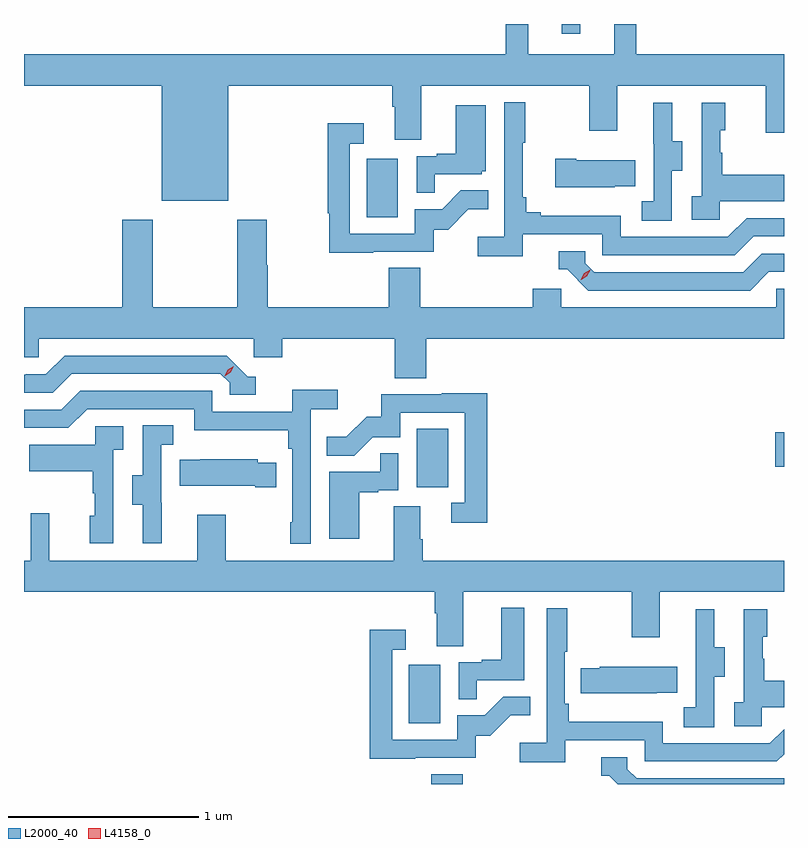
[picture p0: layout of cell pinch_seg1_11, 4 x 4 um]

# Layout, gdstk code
import gdstk
lib = gdstk.Library(unit=1e-6, precision=1e-09)
def R(c, l, rs):  # rectangles x0, y0, x1, y1
    for r in rs: c.add(gdstk.rectangle(r[:2], r[2:], *l))
def P(c, l, *ps):  # polygons
    for p in ps: c.add(gdstk.Polygon(p, *l))
L2000_40 = (2000, 40)
L4158_0 = (4158, 0)

pinch_seg1_11 = lib.new_cell('pinch_seg1_11')
R(pinch_seg1_11, L2000_40, [(1084.961,570.7,1085.126,570.752), (1084.844,571.02,1085.008,571.327), (1084.886,572.262,1085.05,572.569), (1086.773,572.369,1086.818,572.552), (1084.622,573.684,1084.786,573.991), (1085.649,574.65,1085.746,574.7)])
P(pinch_seg1_11, L2000_40, [(1082.818,574.376),(1083.542,574.376),(1083.542,573.77),(1083.892,573.77),(1083.892,574.376),(1084.757,574.376),(1084.757,574.264),(1084.769,574.264),(1084.769,574.09),(1084.909,574.09),(1084.909,574.376),(1085.794,574.376),(1085.794,574.137),(1085.941,574.137),(1085.941,574.376),(1086.722,574.376),(1086.722,574.128),(1086.818,574.128),(1086.818,574.54),(1086.041,574.54),(1086.041,574.7),(1085.924,574.7),(1085.924,574.54),(1085.471,574.54),(1085.471,574.7),(1085.353,574.7),(1085.353,574.54),(1082.818,574.54)],
  [(1085.444,573.594),(1085.862,573.594),(1085.862,573.483),(1086.559,573.483),(1086.658,573.582),(1086.818,573.582),(1086.818,573.678),(1086.621,573.678),(1086.522,573.579),(1085.958,573.579),(1085.958,573.691),(1085.539,573.691),(1085.539,573.71),(1085.462,573.71),(1085.462,573.787),(1085.443,573.787),(1085.443,574.075),(1085.455,574.075),(1085.455,574.288),(1085.346,574.288),(1085.346,573.58),(1085.205,573.58),(1085.205,573.478),(1085.444,573.478)],
  [(1086.48,573.767),(1086.818,573.767),(1086.818,573.907),(1086.493,573.907),(1086.493,574.022),(1086.483,574.022),(1086.483,574.14),(1086.508,574.14),(1086.508,574.285),(1086.384,574.285),(1086.384,573.794),(1086.333,573.794),(1086.333,573.669),(1086.48,573.669)],
  [(1086.228,573.928),(1086.283,573.928),(1086.283,574.083),(1086.229,574.083),(1086.229,574.285),(1086.131,574.285),(1086.131,574.071),(1086.132,574.071),(1086.132,573.767),(1086.069,573.767),(1086.069,573.664),(1086.228,573.664)],
  [(1084.979,573.909),(1085.226,573.909),(1085.226,573.924),(1085.248,573.924),(1085.248,574.273),(1085.09,574.273),(1085.09,574.018),(1084.991,574.018),(1084.991,574.005),(1084.884,574.005),(1084.884,573.811),(1084.979,573.811)],
  [(1084.655,573.501),(1084.974,573.501),(1084.974,573.618),(1085.05,573.618),(1085.157,573.725),(1085.261,573.725),(1085.261,573.824),(1085.117,573.824),(1085.019,573.726),(1084.875,573.726),(1084.875,573.597),(1084.533,573.597),(1084.533,574.071),(1084.606,574.071),(1084.606,574.177),(1084.417,574.177),(1084.417,573.704),(1084.425,573.704),(1084.425,573.496),(1084.655,573.496)],
  [(1085.927,573.845),(1086.035,573.845),(1086.035,573.982),(1085.725,573.982),(1085.725,573.99),(1085.613,573.99),(1085.613,573.842),(1085.927,573.842)],
  [(1086.818,573.306),(1086.777,573.306),(1086.777,573.208),(1085.646,573.208),(1085.646,573.306),(1085.495,573.306),(1085.495,573.208),(1084.904,573.208),(1084.904,573.416),(1084.739,573.416),(1084.739,573.208),(1084.1,573.208),(1084.1,573.431),(1084.095,573.431),(1084.095,573.67),(1083.94,573.67),(1083.94,573.208),(1083.495,573.208),(1083.495,573.67),(1083.335,573.67),(1083.335,573.208),(1082.818,573.208),(1082.818,572.946),(1082.895,572.946),(1082.895,573.044),(1084.026,573.044),(1084.026,572.946),(1084.178,572.946),(1084.178,573.044),(1084.769,573.044),(1084.769,572.836),(1084.934,572.836),(1084.934,573.044),(1086.818,573.044)],
  [(1086.739,573.396),(1086.818,573.396),(1086.818,573.492),(1086.702,573.492),(1086.603,573.393),(1085.82,573.393),(1085.772,573.441),(1085.772,573.504),(1085.633,573.504),(1085.633,573.408),(1085.676,573.408),(1085.787,573.297),(1086.64,573.297)],
  [(1084.039,572.844),(1083.996,572.844),(1083.885,572.955),(1083.032,572.955),(1082.933,572.856),(1082.826,572.856),(1082.826,572.853),(1082.818,572.853),(1082.818,572.76),(1082.97,572.76),(1083.069,572.859),(1083.852,572.859),(1083.9,572.811),(1083.9,572.748),(1084.039,572.748)],
  [(1084.326,572.672),(1084.468,572.672),(1084.468,572.774),(1084.229,572.774),(1084.229,572.658),(1083.81,572.658),(1083.81,572.769),(1083.113,572.769),(1083.014,572.67),(1082.818,572.67),(1082.818,572.574),(1083.051,572.574),(1083.15,572.673),(1083.714,572.673),(1083.714,572.561),(1084.21,572.561),(1084.21,572.465),(1084.23,572.465),(1084.23,572.077),(1084.218,572.077),(1084.218,571.965),(1084.326,571.965)],
  [(1085.255,572.756),(1085.017,572.756),(1085.017,572.751),(1084.699,572.751),(1084.699,572.634),(1084.622,572.634),(1084.515,572.527),(1084.411,572.527),(1084.411,572.428),(1084.555,572.428),(1084.653,572.526),(1084.797,572.526),(1084.797,572.655),(1085.139,572.655),(1085.139,572.181),(1085.067,572.181),(1085.067,572.076),(1085.255,572.076)],
  [(1083.542,572.181),(1083.54,572.181),(1083.54,572.485),(1083.604,572.485),(1083.604,572.588),(1083.444,572.588),(1083.444,572.325),(1083.389,572.325),(1083.389,572.17),(1083.443,572.17),(1083.443,571.968),(1083.542,571.968)],
  [(1083.288,572.459),(1083.34,572.459),(1083.34,572.583),(1083.192,572.583),(1083.192,572.485),(1082.845,572.485),(1082.845,572.345),(1083.18,572.345),(1083.18,572.231),(1083.19,572.231),(1083.19,572.112),(1083.164,572.112),(1083.164,571.968),(1083.288,571.968)],
  [(1084.582,572.235),(1084.682,572.235),(1084.682,572.247),(1084.788,572.247),(1084.788,572.441),(1084.693,572.441),(1084.693,572.343),(1084.424,572.343),(1084.424,571.992),(1084.582,571.992)],
  [(1084.145,572.392),(1084.047,572.392),(1084.047,572.41),(1083.745,572.41),(1083.745,572.407),(1083.637,572.407),(1083.637,572.27),(1084.034,572.27),(1084.034,572.263),(1084.145,572.263)],
  [(1085.131,571.712),(1086.016,571.712),(1086.016,571.473),(1086.163,571.473),(1086.163,571.712),(1086.818,571.712),(1086.818,571.876),(1084.916,571.876),(1084.916,571.988),(1084.903,571.988),(1084.903,572.162),(1084.763,572.162),(1084.763,571.876),(1083.879,571.876),(1083.879,572.116),(1083.731,572.116),(1083.731,571.876),(1082.951,571.876),(1082.951,572.125),(1082.853,572.125),(1082.853,571.876),(1082.818,571.876),(1082.818,571.712),(1084.979,571.712),(1084.979,571.6),(1084.991,571.6),(1084.991,571.426),(1085.131,571.426)],
  [(1085.201,571.245),(1085.452,571.245),(1085.452,571.627),(1085.33,571.627),(1085.33,571.354),(1085.227,571.354),(1085.227,571.341),(1085.106,571.341),(1085.106,571.147),(1085.201,571.147)],
  [(1085.666,570.93),(1086.084,570.93),(1086.084,570.819),(1086.781,570.819),(1086.818,570.856),(1086.818,570.989),(1086.744,570.915),(1086.18,570.915),(1086.18,571.027),(1085.684,571.027),(1085.684,571.123),(1085.664,571.123),(1085.664,571.396),(1085.677,571.396),(1085.677,571.624),(1085.568,571.624),(1085.568,570.916),(1085.427,570.916),(1085.427,570.814),(1085.666,570.814)],
  [(1086.45,571.264),(1086.505,571.264),(1086.505,571.419),(1086.451,571.419),(1086.451,571.621),(1086.353,571.621),(1086.353,571.407),(1086.354,571.407),(1086.354,571.103),(1086.291,571.103),(1086.291,571),(1086.45,571)],
  [(1086.702,571.103),(1086.818,571.103),(1086.818,571.243),(1086.715,571.243),(1086.715,571.358),(1086.705,571.358),(1086.705,571.476),(1086.73,571.476),(1086.73,571.621),(1086.606,571.621),(1086.606,571.13),(1086.555,571.13),(1086.555,571.005),(1086.702,571.005)],
  [(1084.877,570.837),(1085.196,570.837),(1085.196,570.954),(1085.272,570.954),(1085.379,571.061),(1085.483,571.061),(1085.483,571.16),(1085.34,571.16),(1085.242,571.062),(1085.097,571.062),(1085.097,570.933),(1084.755,570.933),(1084.755,571.407),(1084.828,571.407),(1084.828,571.513),(1084.639,571.513),(1084.639,570.832),(1084.877,570.832)],
  [(1086.149,571.181),(1086.257,571.181),(1086.257,571.318),(1085.847,571.318),(1085.847,571.308),(1085.749,571.308),(1085.749,571.178),(1086.149,571.178)],
  [(1086.818,570.729),(1086.042,570.729),(1085.994,570.777),(1085.994,570.84),(1085.855,570.84),(1085.855,570.744),(1085.898,570.744),(1085.942,570.7),(1086.818,570.7)])
P(pinch_seg1_11, L4158_0, [(1083.874,572.847),(1083.874,572.848),(1083.89,572.88),(1083.921,572.899),(1083.921,572.899),(1083.921,572.899),(1083.905,572.866),(1083.874,572.847)],
  [(1085.749,573.355),(1085.749,573.355),(1085.766,573.387),(1085.797,573.406),(1085.797,573.406),(1085.797,573.405),(1085.781,573.373),(1085.75,573.355)])

lib.write_gds('pinch_seg1_11.gds')
